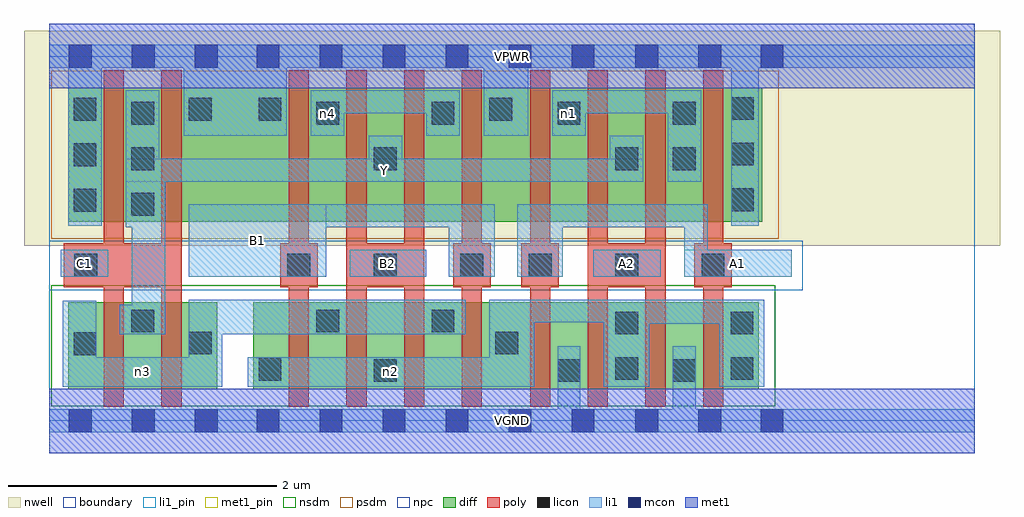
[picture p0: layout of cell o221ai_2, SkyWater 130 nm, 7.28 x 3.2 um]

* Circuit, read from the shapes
.subckt o221ai_2 A1 A2 B1 B2 C1 VGND VPWR Y n1 n2 n3 n4
XM1 Y C1 n3 VSUBS sky130_fd_pr__nfet_01v8 w=0.65 l=0.15 m=2
XM2 n3 B1 n2 VSUBS sky130_fd_pr__nfet_01v8 w=0.65 l=0.15 m=2
XM3 n2 B2 n3 VSUBS sky130_fd_pr__nfet_01v8 w=0.65 l=0.15 m=2
XM4 VGND A1 n2 VSUBS sky130_fd_pr__nfet_01v8 w=0.65 l=0.15 m=2
XM5 n2 A2 VGND VSUBS sky130_fd_pr__nfet_01v8 w=0.65 l=0.15 m=2
XM6 Y C1 VPWR n5 sky130_fd_pr__pfet_01v8 w=1 l=0.15 m=2
XM7 n4 B1 VPWR n5 sky130_fd_pr__pfet_01v8 w=1 l=0.15 m=2
XM8 Y B2 n4 n5 sky130_fd_pr__pfet_01v8 w=1 l=0.15 m=2
XM9 n1 A1 VPWR n5 sky130_fd_pr__pfet_01v8 w=1 l=0.15 m=2
XM10 Y A2 n1 n5 sky130_fd_pr__pfet_01v8 w=1 l=0.15 m=2
.ends

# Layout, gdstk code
import gdstk
lib = gdstk.Library(unit=1e-6, precision=1e-09)
def R(c, l, rs):  # rectangles x0, y0, x1, y1
    for r in rs: c.add(gdstk.rectangle(r[:2], r[2:], *l))
def A(c, l, x, y, w, h, nx, ny, dx, dy):  # array of equal rectangles
    R(c, l, [(x+i*dx, y+j*dy, x+i*dx+w, y+j*dy+h) for i in range(nx) for j in range(ny)])
nwell = (64, 20)
diff = (65, 20)
poly = (66, 20)
licon = (66, 44)
li1_pin = (67, 16)
li1 = (67, 20)
mcon = (67, 44)
met1_pin = (68, 16)
met1 = (68, 20)
nsdm = (93, 44)
psdm = (94, 20)
npc = (95, 20)
boundary = (235, 4)

o221ai_2 = lib.new_cell('o221ai_2')
R(o221ai_2, nwell, [(-0.19,1.305,7.09,2.91), (0,1.305,6.9,2.91)])
R(o221ai_2, diff, [(0.14,0.235,1.25,0.885), (1.52,0.235,5.29,0.885), (0.14,1.485,5.315,2.485)])
A(o221ai_2, poly, 1.785, 0.105, 0.15, 2.51, 4, 1, 0.43, 0)
A(o221ai_2, poly, 3.585, 0.105, 0.15, 2.51, 4, 1, 0.43, 0)
R(o221ai_2, poly, [(0.405,0.105,0.555,2.615), (0.835,0.105,0.985,2.615), (0.105,0.995,0.985,1.325), (1.72,0.995,2,1.325), (2.215,0.995,2.795,1.325), (3.01,0.995,3.29,1.325), (3.52,0.995,3.8,1.325), (4.015,0.995,4.595,1.325), (4.81,0.995,5.09,1.325)])
A(o221ai_2, licon, 1.775, 1.075, 0.17, 0.17, 3, 1, 0.645, 0)
A(o221ai_2, licon, 3.575, 1.075, 0.17, 0.17, 3, 1, 0.645, 0)
A(o221ai_2, licon, 0.61, 1.53, 0.17, 0.17, 1, 3, 0, 0.34)
A(o221ai_2, licon, 0.18, 1.56, 0.17, 0.17, 1, 3, 0, 0.34)
A(o221ai_2, licon, 5.085, 1.565, 0.17, 0.17, 1, 3, 0, 0.34)
R(o221ai_2, licon, [(2.42,0.29,2.59,0.46), (3.79,0.29,3.96,0.46), (4.65,0.29,4.82,0.46), (1.56,0.3,1.73,0.47), (4.22,0.305,4.39,0.475), (5.08,0.305,5.25,0.475), (0.18,0.49,0.35,0.66), (1.04,0.495,1.21,0.665), (3.325,0.495,3.495,0.665), (4.22,0.645,4.39,0.815), (5.08,0.645,5.25,0.815), (0.61,0.66,0.78,0.83), (1.99,0.66,2.16,0.83), (2.85,0.66,3.02,0.83), (0.185,1.075,0.355,1.245), (2.42,1.87,2.59,2.04), (4.22,1.87,4.39,2.04), (4.65,1.87,4.82,2.04), (1.99,2.21,2.16,2.38), (2.85,2.21,3.02,2.38), (3.79,2.21,3.96,2.38), (4.65,2.21,4.82,2.38), (1.04,2.24,1.21,2.41), (1.56,2.24,1.73,2.41), (3.28,2.24,3.45,2.41)])
R(o221ai_2, li1_pin, [(0.085,1.075,0.44,1.275), (1.04,1.075,2.065,1.615), (2.24,1.075,2.81,1.275), (4.055,1.075,4.56,1.275), (4.735,1.075,5.535,1.275), (0.57,1.785,4.43,1.955)])
R(o221ai_2, li1, [(0,-0.085,6.9,0.085), (3.79,-0.085,3.96,0.555), (4.65,-0.085,4.82,0.555), (0.1,0.255,1.29,0.475), (0.1,0.255,0.35,0.895), (1.04,0.255,1.29,0.905), (1.48,0.255,3.615,0.475), (3.28,0.255,3.615,0.905), (4.135,0.255,4.475,0.905), (4.995,0.255,5.33,0.905), (0.525,0.645,0.865,0.865), (0.615,0.645,0.865,1.955), (1.04,0.645,3.105,0.905), (4.135,0.725,5.33,0.905), (3.28,0.735,5.33,0.905), (0.085,1.075,0.44,1.275), (1.04,1.075,2.065,1.615), (2.24,1.075,2.81,1.275), (2.98,1.075,3.32,1.615), (3.49,1.075,3.83,1.615), (4.055,1.075,4.56,1.275), (4.735,1.075,5.535,1.275), (4.735,1.075,4.91,1.615), (0.57,1.445,0.82,2.465), (1.04,1.445,3.32,1.615), (3.49,1.445,4.91,1.615), (0.14,1.455,0.39,2.805), (5.085,1.455,5.29,2.805), (0.57,1.785,4.43,1.955), (2.38,1.785,2.63,2.125), (4.18,1.785,4.43,2.125), (4.61,1.785,4.86,2.465), (1,2.125,1.77,2.805), (1.95,2.125,2.2,2.465), (2.81,2.125,3.06,2.465), (3.24,2.125,3.57,2.805), (3.75,2.125,4,2.465), (1.95,2.295,3.06,2.465), (3.75,2.295,4.86,2.465), (0,2.635,6.9,2.805)])
A(o221ai_2, mcon, 0.145, -0.085, 0.17, 0.17, 3, 2, 0.47, 2.72)
A(o221ai_2, mcon, 1.545, -0.085, 0.17, 0.17, 6, 2, 0.47, 2.72)
R(o221ai_2, mcon, [(4.37,-0.085,4.54,0.085), (4.84,-0.085,5.01,0.085), (5.305,-0.085,5.475,0.085), (4.37,2.635,4.54,2.805), (4.84,2.635,5.01,2.805), (5.305,2.635,5.475,2.805)])
R(o221ai_2, met1_pin, [(0,-0.24,6.9,0.24), (0,2.48,6.9,2.96)])
R(o221ai_2, met1, [(0,-0.24,6.9,0.24), (0,2.48,6.9,2.96)])
R(o221ai_2, nsdm, [(0.015,0.11,5.415,1.01)])
R(o221ai_2, psdm, [(0.015,1.36,5.44,2.61)])
R(o221ai_2, npc, [(0,0.975,5.62,1.345)])
R(o221ai_2, boundary, [(0,0,6.9,2.72)])
o221ai_2.add(gdstk.Label('A1', (5.135,1.175), layer=67, texttype=5))
o221ai_2.add(gdstk.Label('A2', (4.307,1.175), layer=67, texttype=5))
o221ai_2.add(gdstk.Label('B1', (1.552,1.345), layer=67, texttype=5))
o221ai_2.add(gdstk.Label('B2', (2.525,1.175), layer=67, texttype=5))
o221ai_2.add(gdstk.Label('C1', (0.262,1.175), layer=67, texttype=5))
o221ai_2.add(gdstk.Label('Y', (2.5,1.87), layer=67, texttype=5))
o221ai_2.add(gdstk.Label('n3', (0.695,0.365), layer=67, texttype=5))
o221ai_2.add(gdstk.Label('n2', (2.547,0.365), layer=67, texttype=5))
o221ai_2.add(gdstk.Label('n4', (2.075,2.295), layer=67, texttype=5))
o221ai_2.add(gdstk.Label('n1', (3.875,2.295), layer=67, texttype=5))
o221ai_2.add(gdstk.Label('VPWR', (3.45,2.72), layer=68, texttype=5))
o221ai_2.add(gdstk.Label('VGND', (3.45,0), layer=68, texttype=5))
o221ai_2.add(gdstk.Label('A1', (5.135,1.175), layer=67, texttype=16))
o221ai_2.add(gdstk.Label('A2', (4.307,1.175), layer=67, texttype=16))
o221ai_2.add(gdstk.Label('B1', (1.552,1.345), layer=67, texttype=16))
o221ai_2.add(gdstk.Label('B2', (2.525,1.175), layer=67, texttype=16))
o221ai_2.add(gdstk.Label('C1', (0.262,1.175), layer=67, texttype=16))
o221ai_2.add(gdstk.Label('Y', (2.5,1.87), layer=67, texttype=16))
o221ai_2.add(gdstk.Label('VPWR', (3.45,2.72), layer=68, texttype=16))
o221ai_2.add(gdstk.Label('VGND', (3.45,0), layer=68, texttype=16))

lib.write_gds('o221ai_2.gds')
